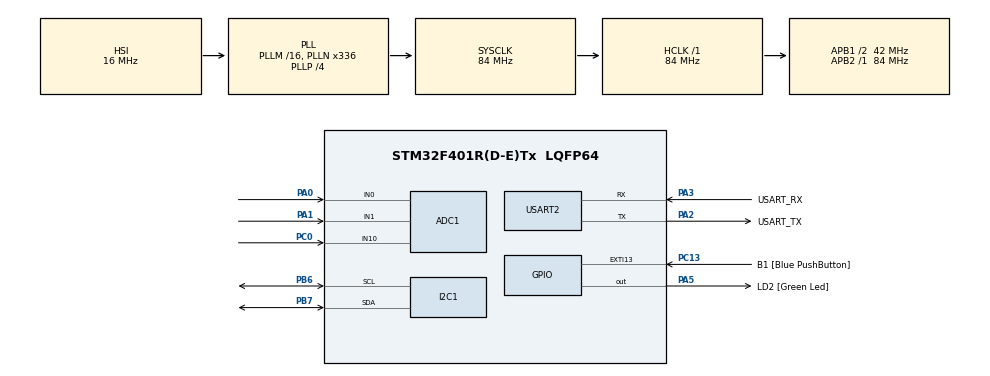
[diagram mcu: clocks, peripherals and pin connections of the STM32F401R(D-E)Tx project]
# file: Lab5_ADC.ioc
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ADC1.Channel-0\#ChannelRegularConversion=ADC_CHANNEL_0
ADC1.Channel-1\#ChannelRegularConversion=ADC_CHANNEL_1
ADC1.Channel-4\#ChannelRegularConversion=ADC_CHANNEL_10
ADC1.ContinuousConvMode=ENABLE
ADC1.DataAlign=ADC_DATAALIGN_RIGHT
ADC1.NbrOfConversion=3
ADC1.NbrOfConversionFlag=1
ADC1.Rank-0\#ChannelRegularConversion=1
ADC1.Rank-1\#ChannelRegularConversion=2
ADC1.Rank-4\#ChannelRegularConversion=3
ADC1.SamplingTime-0\#ChannelRegularConversion=ADC_SAMPLETIME_480CYCLES
ADC1.SamplingTime-1\#ChannelRegularConversion=ADC_SAMPLETIME_480CYCLES
ADC1.SamplingTime-4\#ChannelRegularConversion=ADC_SAMPLETIME_480CYCLES
ADC1.ScanConvMode=ENABLE
ADC1.master=1
Mcu.Family=STM32F4
Mcu.Name=STM32F401R(D-E)Tx
Mcu.Package=LQFP64
NVIC.ADC_IRQn=true\:0\:0\:false\:false\:true\:true\:true\:true
NVIC.PriorityGroup=NVIC_PRIORITYGROUP_0
NVIC.TIM2_IRQn=true\:0\:0\:false\:false\:true\:true\:true\:true
PA0-WKUP.Signal=ADCx_IN0
PA1.Signal=ADCx_IN1
PA13.GPIO_Label=TMS
PA13.Mode=Serial_Wire
PA13.Signal=SYS_JTMS-SWDIO
PA14.GPIO_Label=TCK
PA14.Mode=Serial_Wire
PA14.Signal=SYS_JTCK-SWCLK
PA2.GPIO_Label=USART_TX
PA2.GPIO_Mode=GPIO_MODE_AF_PP
PA2.GPIO_PuPd=GPIO_NOPULL
PA2.GPIO_Speed=GPIO_SPEED_FREQ_LOW
PA2.Mode=Asynchronous
PA2.Signal=USART2_TX
PA3.GPIO_Label=USART_RX
PA3.GPIO_Mode=GPIO_MODE_AF_PP
PA3.GPIO_PuPd=GPIO_NOPULL
PA3.GPIO_Speed=GPIO_SPEED_FREQ_LOW
PA3.Mode=Asynchronous
PA3.Signal=USART2_RX
PA5.GPIO_Label=LD2 [Green Led]
PA5.GPIO_Mode=GPIO_MODE_OUTPUT_PP
PA5.GPIO_PuPd=GPIO_NOPULL
PA5.GPIO_Speed=GPIO_SPEED_FREQ_LOW
PA5.Signal=GPIO_Output
PB0.Signal=ADCx_IN8
PB3.GPIO_Label=SWO
PB3.Signal=SYS_JTDO-SWO
PB6.Mode=I2C
PB6.Signal=I2C1_SCL
PB7.Mode=I2C
PB7.Signal=I2C1_SDA
PC0.Signal=ADCx_IN10
PC13-ANTI_TAMP.GPIO_Label=B1 [Blue PushButton]
PC13-ANTI_TAMP.GPIO_ModeDefaultEXTI=GPIO_MODE_IT_FALLING
PC13-ANTI_TAMP.GPIO_PuPd=GPIO_NOPULL
PC13-ANTI_TAMP.Signal=GPXTI13
PC14-OSC32_IN.Mode=LSE-External-Oscillator
PC14-OSC32_IN.Signal=RCC_OSC32_IN
PC15-OSC32_OUT.Mode=LSE-External-Oscillator
PC15-OSC32_OUT.Signal=RCC_OSC32_OUT
PH0\ -\ OSC_IN.Mode=HSE-External-Clock-Source
PH0\ -\ OSC_IN.Signal=RCC_OSC_IN
PH1\ -\ OSC_OUT.Mode=HSE-External-Clock-Source
PH1\ -\ OSC_OUT.Signal=RCC_OSC_OUT
ProjectManager.HeapSize=0x200
ProjectManager.StackSize=0x400
ProjectManager.TargetToolchain=STM32CubeIDE
RCC.48MHZClocksFreq_Value=48000000
RCC.AHBFreq_Value=84000000
RCC.APB1CLKDivider=RCC_HCLK_DIV2
RCC.APB1Freq_Value=42000000
RCC.APB1TimFreq_Value=84000000
RCC.APB2Freq_Value=84000000
RCC.APB2TimFreq_Value=84000000
RCC.CortexFreq_Value=84000000
RCC.HCLKFreq_Value=84000000
RCC.HSE_VALUE=8000000
RCC.HSI_VALUE=16000000
RCC.PLLN=336
RCC.PLLP=RCC_PLLP_DIV4
RCC.PLLQ=7
RCC.SYSCLKFreq_VALUE=84000000
RCC.SYSCLKSource=RCC_SYSCLKSOURCE_PLLCLK
RCC.VCOOutputFreq_Value=336000000
SH.ADCx_IN0.0=ADC1_IN0,IN0
SH.ADCx_IN1.0=ADC1_IN1,IN1
SH.ADCx_IN10.0=ADC1_IN10,IN10
SH.ADCx_IN8.0=ADC1_IN8
TIM2.Prescaler=83
USART2.VirtualMode=VM_ASYNC
VP_TIM2_VS_ClockSourceINT.Mode=Internal
board=NUCLEO-F401RE

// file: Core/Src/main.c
/* USER CODE BEGIN Header */
/**
  ******************************************************************************
  * @file           : main.c
  * @brief          : Main program body
  ******************************************************************************
  * @attention
  *
  * Copyright (c) 2024 STMicroelectronics.
  * All rights reserved.
  *
  * This software is licensed under terms that can be found in the LICENSE file
  * in the root directory of this software component.
  * If no LICENSE file comes with this software, it is provided AS-IS.
  *
  ******************************************************************************
  */
/* USER CODE END Header */
#include "main.h"

/* USER CODE BEGIN Includes */
#include <lcd.h>
#include <stdio.h>  // För sprintf()
#include <stdint.h> // För uint16_t
#include <math.h>   // matematik  behövs
/* USER CODE END Includes */

/* USER CODE BEGIN PD */
#define ADC_BUF_SIZE 3  // Definiera storleken på ADC-bufferten
#define JOY_X_IX 1    // Index för joystickens X-värde
#define JOY_Y_IX 2     // Index för joystickens Y-värde
#define PHOTORESISTOR_IX 0  // Index för fotoresistorn
/* USER CODE END PD */

ADC_HandleTypeDef hadc1;

I2C_HandleTypeDef hi2c1;

TIM_HandleTypeDef htim2;

UART_HandleTypeDef huart2;

/* USER CODE BEGIN PV */
uint16_t adc_buffer[ADC_BUF_SIZE];  // Buffert för att lagra konverterade ADC-värden
int adc_buf_ix = 0;                  // Index för att hålla reda på nästa plats i bufferten
/* USER CODE END PV */

void SystemClock_Config(void);
static void MX_GPIO_Init(void);
static void MX_USART2_UART_Init(void);
static void MX_ADC1_Init(void);
static void MX_TIM2_Init(void);
static void MX_I2C1_Init(void);
/* USER CODE BEGIN PFP */
uint16_t read_one_adc_value(ADC_HandleTypeDef * hadc);
void HAL_ADC_ConvCpltCallback(ADC_HandleTypeDef *hadc);

/* USER CODE END PFP */

/* USER CODE BEGIN 0 */
uint16_t read_one_adc_value(ADC_HandleTypeDef * hadc)
{
	HAL_ADC_Start(hadc);
	HAL_ADC_PollForConversion(hadc, 100);
	uint32_t reading = HAL_ADC_GetValue(hadc);
	HAL_ADC_Stop(hadc);
	return (uint16_t) reading;
}

float normalize_12bit(uint16_t x) {
    return x / 4095.0f;  // Dela med 4095 för att få ett värde i spannet [0, 1]
}

float normalize_12bit_posneg(uint16_t x) {
    return (x / 2047.5f) - 1.0f;  // Omvandla 0-4095 till -1.0 till 1.0
}

void HAL_ADC_ConvCpltCallback(ADC_HandleTypeDef* hadc)
{
    if (hadc->Instance == ADC1)
    {
        uint16_t adcValue = HAL_ADC_GetValue(hadc); // Hämta det konverterade värdet
        adc_buffer[adc_buf_ix++] = adcValue; // Spara värdet i bufferten

        // Återställ index om det når buffertens storlek
        if (adc_buf_ix >= ADC_BUF_SIZE)
        {
            adc_buf_ix = 0;
        }
    }
}
/* USER CODE END 0 */

int main(void)
{

  /* MCU Configuration--------------------------------------------------------*/

  /* Reset of all peripherals, Initializes the Flash interface and the Systick. */
  HAL_Init();

  /* Configure the system clock */
  SystemClock_Config();

  /* Initialize all configured peripherals */
  MX_GPIO_Init();
  MX_USART2_UART_Init();
  MX_ADC1_Init();
  MX_TIM2_Init();
  MX_I2C1_Init();
  /* USER CODE BEGIN 2 */
  TextLCDType hlcd;
  TextLCD_Init(&hlcd, &hi2c1, 0x27 << 1);
  HAL_ADC_Start_IT(&hadc1);

  /* USER CODE END 2 */

  /* Infinite loop */
  /* USER CODE BEGIN WHILE */
  while (1)
  {

	  uint16_t joystickXValue = adc_buffer[JOY_X_IX];
	  uint16_t joystickYValue = adc_buffer[JOY_Y_IX];
	  uint16_t photoresistorValue = adc_buffer[PHOTORESISTOR_IX];

      char buffer[20];

      // Skriv joystick X-värde
      float normalizedX = normalize_12bit_posneg(joystickXValue);
      sprintf(buffer, "%.2fX  ", normalizedX);
      TextLCD_Position(&hlcd, 0, 0);
      TextLCD_PutStr(&hlcd, buffer);

      float normalizedY = normalize_12bit_posneg(joystickYValue);
	  sprintf(buffer, "%.3fY  ", normalizedY);
	  TextLCD_Position(&hlcd, 0, 1);
	  TextLCD_PutStr(&hlcd, buffer);

      // Skriv fotoresistorvärde normaliserat mellan [0, 1]
      float normalizedPhotoresistor = normalize_12bit(photoresistorValue);
      sprintf(buffer, "%.3fL", normalizedPhotoresistor);
      TextLCD_Position(&hlcd, 10, 1);
      TextLCD_PutStr(&hlcd, buffer);

  }

    /* USER CODE END WHILE */

}

void SystemClock_Config(void)
{
  RCC_OscInitTypeDef RCC_OscInitStruct = {0};
  RCC_ClkInitTypeDef RCC_ClkInitStruct = {0};

  /** Configure the main internal regulator output voltage
  */
  __HAL_RCC_PWR_CLK_ENABLE();
  __HAL_PWR_VOLTAGESCALING_CONFIG(PWR_REGULATOR_VOLTAGE_SCALE2);

  /** Initializes the RCC Oscillators according to the specified parameters
  * in the RCC_OscInitTypeDef structure.
  */
  RCC_OscInitStruct.OscillatorType = RCC_OSCILLATORTYPE_HSI;
  RCC_OscInitStruct.HSIState = RCC_HSI_ON;
  RCC_OscInitStruct.HSICalibrationValue = RCC_HSICALIBRATION_DEFAULT;
  RCC_OscInitStruct.PLL.PLLState = RCC_PLL_ON;
  RCC_OscInitStruct.PLL.PLLSource = RCC_PLLSOURCE_HSI;
  RCC_OscInitStruct.PLL.PLLM = 16;
  RCC_OscInitStruct.PLL.PLLN = 336;
  RCC_OscInitStruct.PLL.PLLP = RCC_PLLP_DIV4;
  RCC_OscInitStruct.PLL.PLLQ = 7;
  if (HAL_RCC_OscConfig(&RCC_OscInitStruct) != HAL_OK)
  {
    Error_Handler();
  }

  /** Initializes the CPU, AHB and APB buses clocks
  */
  RCC_ClkInitStruct.ClockType = RCC_CLOCKTYPE_HCLK|RCC_CLOCKTYPE_SYSCLK
                              |RCC_CLOCKTYPE_PCLK1|RCC_CLOCKTYPE_PCLK2;
  RCC_ClkInitStruct.SYSCLKSource = RCC_SYSCLKSOURCE_PLLCLK;
  RCC_ClkInitStruct.AHBCLKDivider = RCC_SYSCLK_DIV1;
  RCC_ClkInitStruct.APB1CLKDivider = RCC_HCLK_DIV2;
  RCC_ClkInitStruct.APB2CLKDivider = RCC_HCLK_DIV1;

  if (HAL_RCC_ClockConfig(&RCC_ClkInitStruct, FLASH_LATENCY_2) != HAL_OK)
  {
    Error_Handler();
  }
}

static void MX_ADC1_Init(void)
{

  ADC_ChannelConfTypeDef sConfig = {0};

  /** Configure the global features of the ADC (Clock, Resolution, Data Alignment and number of conversion)
  */
  hadc1.Instance = ADC1;
  hadc1.Init.ClockPrescaler = ADC_CLOCK_SYNC_PCLK_DIV4;
  hadc1.Init.Resolution = ADC_RESOLUTION_12B;
  hadc1.Init.ScanConvMode = ENABLE;
  hadc1.Init.ContinuousConvMode = ENABLE;
  hadc1.Init.DiscontinuousConvMode = DISABLE;
  hadc1.Init.ExternalTrigConvEdge = ADC_EXTERNALTRIGCONVEDGE_NONE;
  hadc1.Init.ExternalTrigConv = ADC_SOFTWARE_START;
  hadc1.Init.DataAlign = ADC_DATAALIGN_RIGHT;
  hadc1.Init.NbrOfConversion = 3;
  hadc1.Init.DMAContinuousRequests = DISABLE;
  hadc1.Init.EOCSelection = ADC_EOC_SINGLE_CONV;
  if (HAL_ADC_Init(&hadc1) != HAL_OK)
  {
    Error_Handler();
  }

  /** Configure for the selected ADC regular channel its corresponding rank in the sequencer and its sample time.
  */
  sConfig.Channel = ADC_CHANNEL_0;
  sConfig.Rank = 1;
  sConfig.SamplingTime = ADC_SAMPLETIME_480CYCLES;
  if (HAL_ADC_ConfigChannel(&hadc1, &sConfig) != HAL_OK)
  {
    Error_Handler();
  }

  /** Configure for the selected ADC regular channel its corresponding rank in the sequencer and its sample time.
  */
  sConfig.Channel = ADC_CHANNEL_1;
  sConfig.Rank = 2;
  if (HAL_ADC_ConfigChannel(&hadc1, &sConfig) != HAL_OK)
  {
    Error_Handler();
  }

  /** Configure for the selected ADC regular channel its corresponding rank in the sequencer and its sample time.
  */
  sConfig.Channel = ADC_CHANNEL_10;
  sConfig.Rank = 3;
  if (HAL_ADC_ConfigChannel(&hadc1, &sConfig) != HAL_OK)
  {
    Error_Handler();
  }

}

static void MX_I2C1_Init(void)
{

  hi2c1.Instance = I2C1;
  hi2c1.Init.ClockSpeed = 100000;
  hi2c1.Init.DutyCycle = I2C_DUTYCYCLE_2;
  hi2c1.Init.OwnAddress1 = 0;
  hi2c1.Init.AddressingMode = I2C_ADDRESSINGMODE_7BIT;
  hi2c1.Init.DualAddressMode = I2C_DUALADDRESS_DISABLE;
  hi2c1.Init.OwnAddress2 = 0;
  hi2c1.Init.GeneralCallMode = I2C_GENERALCALL_DISABLE;
  hi2c1.Init.NoStretchMode = I2C_NOSTRETCH_DISABLE;
  if (HAL_I2C_Init(&hi2c1) != HAL_OK)
  {
    Error_Handler();
  }

}

static void MX_TIM2_Init(void)
{

  TIM_ClockConfigTypeDef sClockSourceConfig = {0};
  TIM_MasterConfigTypeDef sMasterConfig = {0};

  htim2.Instance = TIM2;
  htim2.Init.Prescaler = 83;
  htim2.Init.CounterMode = TIM_COUNTERMODE_UP;
  htim2.Init.Period = 4294967295;
  htim2.Init.ClockDivision = TIM_CLOCKDIVISION_DIV1;
  htim2.Init.AutoReloadPreload = TIM_AUTORELOAD_PRELOAD_DISABLE;
  if (HAL_TIM_Base_Init(&htim2) != HAL_OK)
  {
    Error_Handler();
  }
  sClockSourceConfig.ClockSource = TIM_CLOCKSOURCE_INTERNAL;
  if (HAL_TIM_ConfigClockSource(&htim2, &sClockSourceConfig) != HAL_OK)
  {
    Error_Handler();
  }
  sMasterConfig.MasterOutputTrigger = TIM_TRGO_RESET;
  sMasterConfig.MasterSlaveMode = TIM_MASTERSLAVEMODE_DISABLE;
  if (HAL_TIMEx_MasterConfigSynchronization(&htim2, &sMasterConfig) != HAL_OK)
  {
    Error_Handler();
  }

}

static void MX_USART2_UART_Init(void)
{

  huart2.Instance = USART2;
  huart2.Init.BaudRate = 115200;
  huart2.Init.WordLength = UART_WORDLENGTH_8B;
  huart2.Init.StopBits = UART_STOPBITS_1;
  huart2.Init.Parity = UART_PARITY_NONE;
  huart2.Init.Mode = UART_MODE_TX_RX;
  huart2.Init.HwFlowCtl = UART_HWCONTROL_NONE;
  huart2.Init.OverSampling = UART_OVERSAMPLING_16;
  if (HAL_UART_Init(&huart2) != HAL_OK)
  {
    Error_Handler();
  }

}

static void MX_GPIO_Init(void)
{
  GPIO_InitTypeDef GPIO_InitStruct = {0};

  /* GPIO Ports Clock Enable */
  __HAL_RCC_GPIOC_CLK_ENABLE();
  __HAL_RCC_GPIOH_CLK_ENABLE();
  __HAL_RCC_GPIOA_CLK_ENABLE();
  __HAL_RCC_GPIOB_CLK_ENABLE();

  /*Configure GPIO pin Output Level */
  HAL_GPIO_WritePin(LD2_GPIO_Port, LD2_Pin, GPIO_PIN_RESET);

  /*Configure GPIO pin : B1_Pin */
  GPIO_InitStruct.Pin = B1_Pin;
  GPIO_InitStruct.Mode = GPIO_MODE_IT_FALLING;
  GPIO_InitStruct.Pull = GPIO_NOPULL;
  HAL_GPIO_Init(B1_GPIO_Port, &GPIO_InitStruct);

  /*Configure GPIO pin : LD2_Pin */
  GPIO_InitStruct.Pin = LD2_Pin;
  GPIO_InitStruct.Mode = GPIO_MODE_OUTPUT_PP;
  GPIO_InitStruct.Pull = GPIO_NOPULL;
  GPIO_InitStruct.Speed = GPIO_SPEED_FREQ_LOW;
  HAL_GPIO_Init(LD2_GPIO_Port, &GPIO_InitStruct);

}

void Error_Handler(void)
{
  __disable_irq();
  while (1)
  {
  }
}
